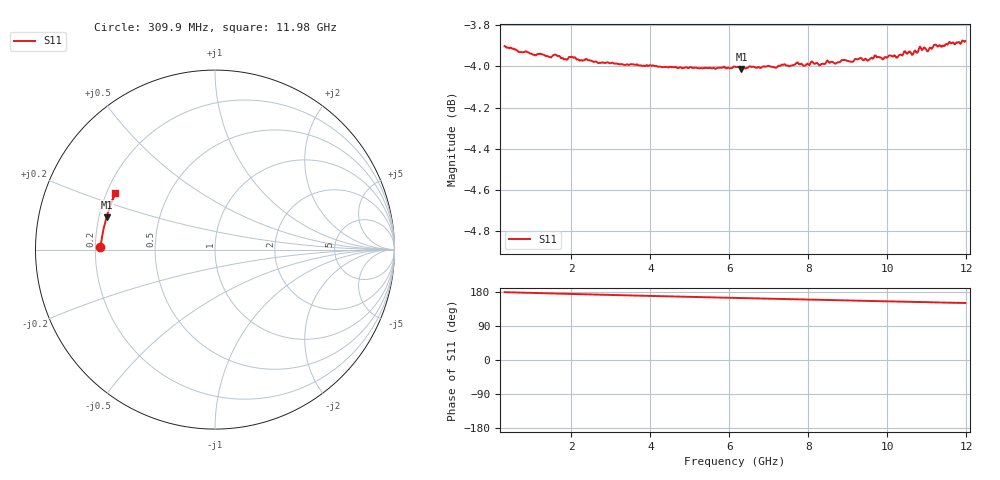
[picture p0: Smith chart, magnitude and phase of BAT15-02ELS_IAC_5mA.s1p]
! Infineon Technologies  Discrete & RF Semiconductors
! BAT15-02ELS
! IAC = 5 mA
! One-Port S-Parameters
# Hz  S  MA  R  50
!f  S11
!Hz  Mag  Ang
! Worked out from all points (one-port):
!   468 points, 309.9 MHz to 11.98 GHz, reference 50 ohm
!   lowest |S11| = -4.0 dB at 6.307 GHz (marker M1), VSWR 4.41, Z = 11.6 + j6.88 ohm
!   |S11| at or under -10 dB: nowhere
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3.0985e8  0.6382 178.9
1.059475e9  0.6351 176.9
1.584212e9  0.6351 175.5
1.784112e9  0.6339 174.9
2.033988e9  0.6342 174.2
3.233388e9  0.6317 171.1
4.70765e9  0.6303 167.3
6.156925e9  0.6308 163.9
6.30685e9  0.63 163.5
7.456275e9  0.6312 160.8
7.6062e9  0.6314 160.4
7.831088e9  0.6319 160.0
8.030988e9  0.6314 159.4
8.2059e9  0.6322 159.1
8.4058e9  0.6318 158.5
8.6057e9  0.6326 158.2
8.780612e9  0.6324 157.6
8.930538e9  0.6332 157.4
9.080462e9  0.6326 157.0
9.730138e9  0.6342 155.5
9.980012e9  0.634 154.8
1.052974e10  0.6359 153.6
1.077961e10  0.6362 152.9
1.095452e10  0.6375 152.8
1.112944e10  0.6372 152.2
1.127936e10  0.638 152.0
1.145428e10  0.6382 151.5
1.197901e10  0.6399 150.4
